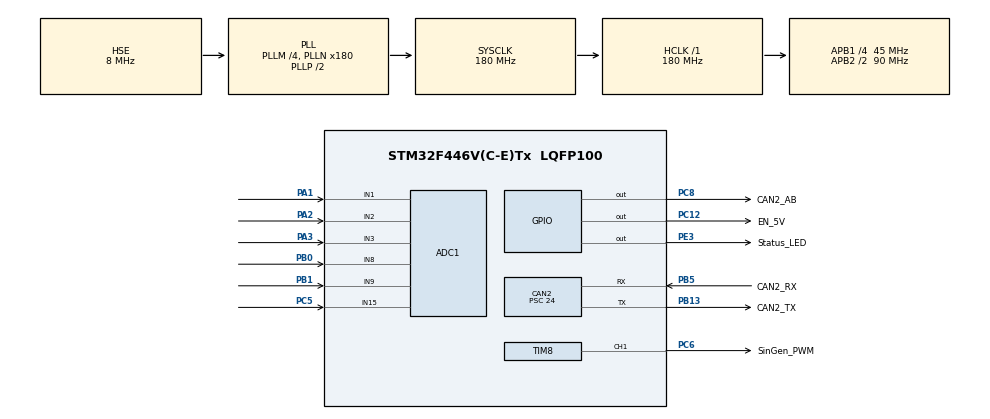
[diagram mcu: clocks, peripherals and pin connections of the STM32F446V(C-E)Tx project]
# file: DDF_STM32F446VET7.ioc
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ADC1.Channel-0\#ChannelRegularConversion=ADC_CHANNEL_9
ADC1.ContinuousConvMode=ENABLE
ADC1.EOCSelection=ADC_EOC_SEQ_CONV
ADC1.Mode=ADC_TRIPLEMODE_REGSIMULT
ADC1.NbrOfConversionFlag=1
ADC1.Rank-0\#ChannelRegularConversion=1
ADC1.SamplingTime-0\#ChannelRegularConversion=ADC_SAMPLETIME_3CYCLES
ADC1.master=1
ADC2.Channel-0\#ChannelRegularConversion=ADC_CHANNEL_8
ADC2.DMAAccessMode=ADC_DMAACCESSMODE_1
ADC2.EOCSelection=ADC_EOC_SEQ_CONV
ADC2.Mode=ADC_TRIPLEMODE_REGSIMULT
ADC2.NbrOfConversionFlag=1
ADC2.Rank-0\#ChannelRegularConversion=1
ADC2.SamplingTime-0\#ChannelRegularConversion=ADC_SAMPLETIME_3CYCLES
ADC3.Channel-0\#ChannelRegularConversion=ADC_CHANNEL_1
ADC3.DMAAccessMode=ADC_DMAACCESSMODE_1
ADC3.EOCSelection=ADC_EOC_SEQ_CONV
ADC3.Mode=ADC_TRIPLEMODE_REGSIMULT
ADC3.NbrOfConversionFlag=1
ADC3.Rank-0\#ChannelRegularConversion=1
ADC3.SamplingTime-0\#ChannelRegularConversion=ADC_SAMPLETIME_3CYCLES
CAN2.AWUM=DISABLE
CAN2.BS1=CAN_BS1_12TQ
CAN2.BS2=CAN_BS2_2TQ
CAN2.CalculateBaudRate=125000
CAN2.CalculateTimeBit=8000
CAN2.CalculateTimeQuantum=533.3333333333333
CAN2.Mode=CAN_MODE_NORMAL
CAN2.NART=ENABLE
CAN2.Prescaler=24
CAN2.SJW=CAN_SJW_1TQ
CAN2.TXFP=ENABLE
Dma.ADC1.0.Direction=DMA_PERIPH_TO_MEMORY
Dma.ADC1.0.FIFOMode=DMA_FIFOMODE_DISABLE
Dma.ADC1.0.Instance=DMA2_Stream0
Dma.ADC1.0.MemDataAlignment=DMA_MDATAALIGN_HALFWORD
Dma.ADC1.0.MemInc=DMA_MINC_ENABLE
Dma.ADC1.0.Mode=DMA_NORMAL
Dma.ADC1.0.PeriphDataAlignment=DMA_PDATAALIGN_HALFWORD
Dma.ADC1.0.PeriphInc=DMA_PINC_DISABLE
Dma.ADC1.0.Priority=DMA_PRIORITY_HIGH
Dma.ADC2.1.Direction=DMA_PERIPH_TO_MEMORY
Dma.ADC2.1.FIFOMode=DMA_FIFOMODE_DISABLE
Dma.ADC2.1.Instance=DMA2_Stream2
Dma.ADC2.1.MemDataAlignment=DMA_MDATAALIGN_HALFWORD
Dma.ADC2.1.MemInc=DMA_MINC_ENABLE
Dma.ADC2.1.Mode=DMA_NORMAL
Dma.ADC2.1.PeriphDataAlignment=DMA_PDATAALIGN_HALFWORD
Dma.ADC2.1.PeriphInc=DMA_PINC_DISABLE
Dma.ADC2.1.Priority=DMA_PRIORITY_HIGH
Dma.ADC3.2.Direction=DMA_PERIPH_TO_MEMORY
Dma.ADC3.2.FIFOMode=DMA_FIFOMODE_DISABLE
Dma.ADC3.2.Instance=DMA2_Stream1
Dma.ADC3.2.MemDataAlignment=DMA_MDATAALIGN_HALFWORD
Dma.ADC3.2.MemInc=DMA_MINC_ENABLE
Dma.ADC3.2.Mode=DMA_NORMAL
Dma.ADC3.2.PeriphDataAlignment=DMA_PDATAALIGN_HALFWORD
Dma.ADC3.2.PeriphInc=DMA_PINC_DISABLE
Dma.ADC3.2.Priority=DMA_PRIORITY_HIGH
Dma.Request0=ADC1
Dma.Request1=ADC2
Dma.Request2=ADC3
Mcu.Family=STM32F4
Mcu.Name=STM32F446V(C-E)Tx
Mcu.Package=LQFP100
NVIC.CAN2_RX0_IRQn=true\:0\:0\:false\:false\:true\:true\:true\:true
NVIC.CAN2_SCE_IRQn=true\:0\:0\:false\:false\:true\:true\:true\:true
NVIC.CAN2_TX_IRQn=true\:0\:0\:false\:false\:true\:true\:true\:true
NVIC.DMA2_Stream0_IRQn=true\:0\:0\:false\:false\:true\:false\:true\:true
NVIC.DMA2_Stream1_IRQn=true\:0\:0\:false\:false\:true\:false\:true\:true
NVIC.DMA2_Stream2_IRQn=true\:0\:0\:false\:false\:true\:false\:true\:true
NVIC.PriorityGroup=NVIC_PRIORITYGROUP_4
NVIC.TIM8_UP_TIM13_IRQn=true\:1\:0\:true\:false\:true\:true\:true\:true
PA1.Signal=ADCx_IN1
PA13.Mode=JTAG_5_pins
PA13.Signal=SYS_JTMS-SWDIO
PA14.Mode=JTAG_5_pins
PA14.Signal=SYS_JTCK-SWCLK
PA15.Mode=JTAG_5_pins
PA15.Signal=SYS_JTDI
PA2.Signal=ADCx_IN2
PA3.Signal=ADCx_IN3
PB0.Signal=ADCx_IN8
PB1.Signal=ADCx_IN9
PB13.GPIO_Label=CAN2_TX
PB13.Mode=CAN_Activate
PB13.Signal=CAN2_TX
PB3.Mode=JTAG_5_pins
PB3.Signal=SYS_JTDO-SWO
PB4.Mode=JTAG_5_pins
PB4.Signal=SYS_JTRST
PB5.GPIO_Label=CAN2_RX
PB5.Mode=CAN_Activate
PB5.Signal=CAN2_RX
PC12.GPIO_Label=EN_5V
PC12.Signal=GPIO_Output
PC5.Signal=ADCx_IN15
PC6.GPIO_Label=SinGen_PWM
PC6.GPIO_Speed=GPIO_SPEED_FREQ_VERY_HIGH
PC6.Signal=S_TIM8_CH1
PC8.GPIO_Label=CAN2_AB
PC8.Signal=GPIO_Output
PE3.GPIO_Label=Status_LED
PE3.Signal=GPIO_Output
PH0-OSC_IN.Mode=HSE-External-Oscillator
PH0-OSC_IN.Signal=RCC_OSC_IN
PH1-OSC_OUT.Mode=HSE-External-Oscillator
PH1-OSC_OUT.Signal=RCC_OSC_OUT
ProjectManager.HeapSize=0x200
ProjectManager.StackSize=0x400
ProjectManager.TargetToolchain=STM32CubeIDE
RCC.AHBFreq_Value=180000000
RCC.APB1CLKDivider=RCC_HCLK_DIV4
RCC.APB1Freq_Value=45000000
RCC.APB1TimFreq_Value=90000000
RCC.APB2CLKDivider=RCC_HCLK_DIV2
RCC.APB2Freq_Value=90000000
RCC.APB2TimFreq_Value=180000000
RCC.CortexFreq_Value=180000000
RCC.HCLKFreq_Value=180000000
RCC.HSE_VALUE=8000000
RCC.PLLM=4
RCC.PLLN=180
RCC.PLLSourceVirtual=RCC_PLLSOURCE_HSE
RCC.SYSCLKFreq_VALUE=180000000
RCC.SYSCLKSource=RCC_SYSCLKSOURCE_PLLCLK
RCC.USBFreq_Value=180000000
RCC.VCOOutputFreq_Value=360000000
SH.ADCx_IN1.0=ADC1_IN1,IN1
SH.ADCx_IN1.1=ADC2_IN1,IN1
SH.ADCx_IN1.2=ADC3_IN1,IN1
SH.ADCx_IN15.0=ADC1_IN15,IN15
SH.ADCx_IN15.1=ADC2_IN15,IN15
SH.ADCx_IN2.0=ADC1_IN2,IN2
SH.ADCx_IN2.1=ADC2_IN2,IN2
SH.ADCx_IN2.2=ADC3_IN2,IN2
SH.ADCx_IN3.0=ADC1_IN3,IN3
SH.ADCx_IN3.1=ADC2_IN3,IN3
SH.ADCx_IN3.2=ADC3_IN3,IN3
SH.ADCx_IN8.0=ADC1_IN8,IN8
SH.ADCx_IN8.1=ADC2_IN8,IN8
SH.ADCx_IN9.0=ADC1_IN9,IN9
SH.ADCx_IN9.1=ADC2_IN9,IN9
SH.S_TIM8_CH1.0=TIM8_CH1,PWM Generation1 CH1
TIM8.Channel-PWM\ Generation1\ CH1=TIM_CHANNEL_1
TIM8.OCFastMode_PWM-PWM\ Generation1\ CH1=TIM_OCFAST_ENABLE
TIM8.Period=9
TIM8.Prescaler=179
TIM8.Pulse-PWM\ Generation1\ CH1=5
VP_ADC1_TempSens_Input.Mode=IN-TempSens
VP_CRC_VS_CRC.Mode=CRC_Activate
VP_TIM8_VS_ClockSourceINT.Mode=Internal
board=custom

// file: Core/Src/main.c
/* USER CODE BEGIN Header */
/**
 ******************************************************************************
 * @file           : main.c
 * @brief          : Main program body
 ******************************************************************************
 * @attention
 *
 * Copyright (c) 2023 STMicroelectronics.
 * All rights reserved.
 *
 * This software is licensed under terms that can be found in the LICENSE file
 * in the root directory of this software component.
 * If no LICENSE file comes with this software, it is provided AS-IS.
 *
 ******************************************************************************
 */

#define __MAIN_C
/* USER CODE END Header */
#include "main.h"

/* USER CODE BEGIN Includes */
#include "math.h"
#include "ADC.h"
#include "Bootloader.h"
#include "CAN.h"
#include "LockIn.h"
#include "SinGen.h"
/* USER CODE END Includes */

ADC_HandleTypeDef hadc1;
ADC_HandleTypeDef hadc2;
ADC_HandleTypeDef hadc3;
DMA_HandleTypeDef hdma_adc1;
DMA_HandleTypeDef hdma_adc2;
DMA_HandleTypeDef hdma_adc3;

CAN_HandleTypeDef hcan2;

CRC_HandleTypeDef hcrc;

TIM_HandleTypeDef htim8;

/* USER CODE BEGIN PV */
extern CAN_RxHeaderTypeDef CAN_Rx_Header;
extern CAN_TRx_Data_TypeDef CAN_Rx_Data;

/* USER CODE END PV */

void SystemClock_Config(void);
static void MX_GPIO_Init(void);
static void MX_DMA_Init(void);
static void MX_ADC1_Init(void);
static void MX_TIM8_Init(void);
static void MX_CAN2_Init(void);
static void MX_ADC2_Init(void);
static void MX_ADC3_Init(void);
static void MX_CRC_Init(void);
/* USER CODE BEGIN PFP */
void HAL_ADC_ConvCpltCallback(ADC_HandleTypeDef *hadc);
void HAL_CAN_RxFifo0MsgPendingCallback(CAN_HandleTypeDef *hcan);
AppError_t SystemCheck(void);

void InitGlobalVar(void);
void nextstate(state_t_TypeDef nstate_t);
/* USER CODE END PFP */

int main(void)
{
  /* USER CODE BEGIN 1 */
	//JumpToBootloader();
  /* USER CODE END 1 */

  /* MCU Configuration--------------------------------------------------------*/

  /* Reset of all peripherals, Initializes the Flash interface and the Systick. */
  HAL_Init();

  /* Configure the system clock */
  SystemClock_Config();

  /* Initialize all configured peripherals */
  MX_GPIO_Init();
  MX_DMA_Init();
  MX_ADC1_Init();
  MX_TIM8_Init();
  MX_CAN2_Init();
  MX_ADC2_Init();
  MX_ADC3_Init();
  MX_CRC_Init();
  /* USER CODE BEGIN 2 */

	//Initialisieren aller Parameter
	InitGlobalVar();

	HAL_GPIO_WritePin(EN_5V_GPIO_Port, EN_5V_Pin, GPIO_PIN_SET);
	HAL_GPIO_WritePin(Status_LED_GPIO_Port, Status_LED_Pin, GPIO_PIN_SET);

	HAL_TIM_Base_Start(&htim8);
	HAL_TIM_PWM_Start(&htim8, TIM_CHANNEL_1);
	__HAL_TIM_ENABLE_IT(&htim8, TIM_IT_UPDATE);

	//CAN2_TRX_Set_Power(CAN_TRX_SET_POWER_ON);		//Deaktiviert
	CAN2_TRX_Set_Loopback(CAN_TRX_SET_LOOPBACK_OFF);
	CAN_Set_Mode(&hcan2, CAN_SET_ENABLE);
	__enable_irq();

	//  SystemCheck();

  /* USER CODE END 2 */

  /* Infinite loop */
	while (1) {

    /* USER CODE BEGIN 3 */

		switch (state_t_cur) {
		case stateIdle:
			//nextstate(stateIdle);
			break;

		case stateSendLockIn:
			//HAL_GPIO_TogglePin(Status_LED_GPIO_Port, Status_LED_Pin);
			ADC_C_Results.Elec[0] = E1;
			ADC_C_Results.Elec[1] = E2;
			ADC_C_Results.Elec[2] = E3;
			for (uint8_t i = 0; i < 3; i++) {
				ADC_Sample_Elec_poll();
				if (i == 2) {
					SinGen_RefreshTimer(0);
				} else {
					SinGen_RefreshTimer(i + 1);
				}
				LockIn_Calc(i);	//Refresh vor dem Berechnen, damit Tiefpässe vorm erneuten Samplen auf neue Frequenz eingeschwungen sind
				CAN_Send_LockInData(&hcan2, i);
				//ADC_Sort_Channels();
			}
			nextstate(stateIdle);
			break;

		case stateSendAdditionalData:
			for (uint8_t i = 0; i < 3; i++) {	//Toggle alle 3 Frequenzen durch
				ADC_C_Results.Elec[0] = E1;
				ADC_C_Results.Elec[1] = E2;
				ADC_C_Results.Elec[2] = E3;
				ADC_Sample_Elec_poll();
				LockIn_Calc(i);
				CAN_Send_LockInData(&hcan2, i);
				if(TIS_Sensor.SendRawData){
					while (ADC_C_Results.readIndex.Channel < 3
							&& ADC_C_Results.readIndex.Pos < ADC_C_Results.Length) {
						CAN_Send_ADC_RawData(&hcan2, i);
					}
				}

				ADC_C_Results.Elec[0] = V_SINGEN;
				ADC_C_Results.Elec[1] = EREF;
				ADC_C_Results.Elec[2] = E3;
				ADC_Sample_Elec_poll();
				if (i == 2) {
					SinGen_RefreshTimer(0);
				} else {
					SinGen_RefreshTimer(i + 1);
				}
				LockIn_Calc(i);	//Timer Refresh vor dem Berechnen, damit Tiefpässe vorm erneuten Samplen auf neue Frequenz eingeschwungen sind
				CAN_Send_LockInData(&hcan2, i);
				//Sende Rohwerte
				if(TIS_Sensor.SendRawData){
					while (ADC_C_Results.readIndex.Channel < 3
							&& ADC_C_Results.readIndex.Pos < ADC_C_Results.Length) {
						CAN_Send_ADC_RawData(&hcan2, i);
					}
				}
				//ADC_Sort_Channels();
			}
			ADC_ReadTemp(&ADC_uC_Temp_Results);
			ADC_Vbat(&VBat);
			CAN_SendTemp_Vbat(&hcan2, &ADC_uC_Temp_Results, &VBat);
			CAN_SendFreq(&hcan2);
			nextstate(stateIdle);
			break;

		case stateSendError:
			CAN_SendError(&hcan2, LastError);
			nextstate(stateIdle);
			break;
		case stateSetCanFreq:
			CAN_Set_Freq_Preset(&hcan2, TIS_Sensor.CAN_Freq_Preset);
			nextstate(stateIdle);
			break;
		default:
			nextstate(stateIdle);
			break;
		}

		//HAL_Delay(5);
		state_t_cur = state_t_next;
	}
  /* USER CODE END 3 */
}

void SystemClock_Config(void)
{
  RCC_OscInitTypeDef RCC_OscInitStruct = {0};
  RCC_ClkInitTypeDef RCC_ClkInitStruct = {0};

  /** Configure the main internal regulator output voltage
  */
  __HAL_RCC_PWR_CLK_ENABLE();
  __HAL_PWR_VOLTAGESCALING_CONFIG(PWR_REGULATOR_VOLTAGE_SCALE1);

  /** Initializes the RCC Oscillators according to the specified parameters
  * in the RCC_OscInitTypeDef structure.
  */
  RCC_OscInitStruct.OscillatorType = RCC_OSCILLATORTYPE_HSE;
  RCC_OscInitStruct.HSEState = RCC_HSE_ON;
  RCC_OscInitStruct.PLL.PLLState = RCC_PLL_ON;
  RCC_OscInitStruct.PLL.PLLSource = RCC_PLLSOURCE_HSE;
  RCC_OscInitStruct.PLL.PLLM = 4;
  RCC_OscInitStruct.PLL.PLLN = 180;
  RCC_OscInitStruct.PLL.PLLP = RCC_PLLP_DIV2;
  RCC_OscInitStruct.PLL.PLLQ = 2;
  RCC_OscInitStruct.PLL.PLLR = 2;
  if (HAL_RCC_OscConfig(&RCC_OscInitStruct) != HAL_OK)
  {
    Error_Handler();
  }

  /** Activate the Over-Drive mode
  */
  if (HAL_PWREx_EnableOverDrive() != HAL_OK)
  {
    Error_Handler();
  }

  /** Initializes the CPU, AHB and APB buses clocks
  */
  RCC_ClkInitStruct.ClockType = RCC_CLOCKTYPE_HCLK|RCC_CLOCKTYPE_SYSCLK
                              |RCC_CLOCKTYPE_PCLK1|RCC_CLOCKTYPE_PCLK2;
  RCC_ClkInitStruct.SYSCLKSource = RCC_SYSCLKSOURCE_PLLCLK;
  RCC_ClkInitStruct.AHBCLKDivider = RCC_SYSCLK_DIV1;
  RCC_ClkInitStruct.APB1CLKDivider = RCC_HCLK_DIV4;
  RCC_ClkInitStruct.APB2CLKDivider = RCC_HCLK_DIV2;

  if (HAL_RCC_ClockConfig(&RCC_ClkInitStruct, FLASH_LATENCY_5) != HAL_OK)
  {
    Error_Handler();
  }
}

static void MX_ADC1_Init(void)
{

  ADC_MultiModeTypeDef multimode = {0};
  ADC_ChannelConfTypeDef sConfig = {0};

  /** Configure the global features of the ADC (Clock, Resolution, Data Alignment and number of conversion)
  */
  hadc1.Instance = ADC1;
  hadc1.Init.ClockPrescaler = ADC_CLOCK_SYNC_PCLK_DIV4;
  hadc1.Init.Resolution = ADC_RESOLUTION_12B;
  hadc1.Init.ScanConvMode = DISABLE;
  hadc1.Init.ContinuousConvMode = ENABLE;
  hadc1.Init.DiscontinuousConvMode = DISABLE;
  hadc1.Init.ExternalTrigConvEdge = ADC_EXTERNALTRIGCONVEDGE_NONE;
  hadc1.Init.ExternalTrigConv = ADC_SOFTWARE_START;
  hadc1.Init.DataAlign = ADC_DATAALIGN_RIGHT;
  hadc1.Init.NbrOfConversion = 1;
  hadc1.Init.DMAContinuousRequests = DISABLE;
  hadc1.Init.EOCSelection = ADC_EOC_SEQ_CONV;
  if (HAL_ADC_Init(&hadc1) != HAL_OK)
  {
    Error_Handler();
  }

  /** Configure the ADC multi-mode
  */
  multimode.Mode = ADC_TRIPLEMODE_REGSIMULT;
  multimode.DMAAccessMode = ADC_DMAACCESSMODE_1;
  multimode.TwoSamplingDelay = ADC_TWOSAMPLINGDELAY_5CYCLES;
  if (HAL_ADCEx_MultiModeConfigChannel(&hadc1, &multimode) != HAL_OK)
  {
    Error_Handler();
  }

  /** Configure for the selected ADC regular channel its corresponding rank in the sequencer and its sample time.
  */
  sConfig.Channel = ADC_CHANNEL_9;
  sConfig.Rank = 1;
  sConfig.SamplingTime = ADC_SAMPLETIME_3CYCLES;
  if (HAL_ADC_ConfigChannel(&hadc1, &sConfig) != HAL_OK)
  {
    Error_Handler();
  }

}

static void MX_ADC2_Init(void)
{

  ADC_ChannelConfTypeDef sConfig = {0};

  /** Configure the global features of the ADC (Clock, Resolution, Data Alignment and number of conversion)
  */
  hadc2.Instance = ADC2;
  hadc2.Init.ClockPrescaler = ADC_CLOCK_SYNC_PCLK_DIV4;
  hadc2.Init.Resolution = ADC_RESOLUTION_12B;
  hadc2.Init.ScanConvMode = DISABLE;
  hadc2.Init.ContinuousConvMode = ENABLE;
  hadc2.Init.DiscontinuousConvMode = DISABLE;
  hadc2.Init.DataAlign = ADC_DATAALIGN_RIGHT;
  hadc2.Init.NbrOfConversion = 1;
  hadc2.Init.DMAContinuousRequests = DISABLE;
  hadc2.Init.EOCSelection = ADC_EOC_SEQ_CONV;
  if (HAL_ADC_Init(&hadc2) != HAL_OK)
  {
    Error_Handler();
  }

  /** Configure for the selected ADC regular channel its corresponding rank in the sequencer and its sample time.
  */
  sConfig.Channel = ADC_CHANNEL_8;
  sConfig.Rank = 1;
  sConfig.SamplingTime = ADC_SAMPLETIME_3CYCLES;
  if (HAL_ADC_ConfigChannel(&hadc2, &sConfig) != HAL_OK)
  {
    Error_Handler();
  }

}

static void MX_ADC3_Init(void)
{

  ADC_ChannelConfTypeDef sConfig = {0};

  /** Configure the global features of the ADC (Clock, Resolution, Data Alignment and number of conversion)
  */
  hadc3.Instance = ADC3;
  hadc3.Init.ClockPrescaler = ADC_CLOCK_SYNC_PCLK_DIV4;
  hadc3.Init.Resolution = ADC_RESOLUTION_12B;
  hadc3.Init.ScanConvMode = DISABLE;
  hadc3.Init.ContinuousConvMode = ENABLE;
  hadc3.Init.DiscontinuousConvMode = DISABLE;
  hadc3.Init.DataAlign = ADC_DATAALIGN_RIGHT;
  hadc3.Init.NbrOfConversion = 1;
  hadc3.Init.DMAContinuousRequests = DISABLE;
  hadc3.Init.EOCSelection = ADC_EOC_SEQ_CONV;
  if (HAL_ADC_Init(&hadc3) != HAL_OK)
  {
    Error_Handler();
  }

  /** Configure for the selected ADC regular channel its corresponding rank in the sequencer and its sample time.
  */
  sConfig.Channel = ADC_CHANNEL_1;
  sConfig.Rank = 1;
  sConfig.SamplingTime = ADC_SAMPLETIME_3CYCLES;
  if (HAL_ADC_ConfigChannel(&hadc3, &sConfig) != HAL_OK)
  {
    Error_Handler();
  }

}

static void MX_CAN2_Init(void)
{

  /* USER CODE BEGIN CAN2_Init 0 */
	CAN_Init_Tx_Header();
  /* USER CODE END CAN2_Init 0 */

  /* USER CODE BEGIN CAN2_Init 1 */
	//Bittimings: http://www.bittiming.can-wiki.info/
  /* USER CODE END CAN2_Init 1 */
  hcan2.Instance = CAN2;
  hcan2.Init.Prescaler = 24;
  hcan2.Init.Mode = CAN_MODE_NORMAL;
  hcan2.Init.SyncJumpWidth = CAN_SJW_1TQ;
  hcan2.Init.TimeSeg1 = CAN_BS1_12TQ;
  hcan2.Init.TimeSeg2 = CAN_BS2_2TQ;
  hcan2.Init.TimeTriggeredMode = DISABLE;
  hcan2.Init.AutoBusOff = DISABLE;
  hcan2.Init.AutoWakeUp = DISABLE;
  hcan2.Init.AutoRetransmission = ENABLE;
  hcan2.Init.ReceiveFifoLocked = DISABLE;
  hcan2.Init.TransmitFifoPriority = ENABLE;
  if (HAL_CAN_Init(&hcan2) != HAL_OK)
  {
    Error_Handler();
  }
  /* USER CODE BEGIN CAN2_Init 2 */
	//Filtersetup für allgemein eingehende Nachrichten auf CAN_BASE_ADR
	CAN_FilterTypeDef CAN_FILTER_CONFIG;
	CAN_FILTER_CONFIG.FilterActivation = CAN_FILTER_ENABLE;
	CAN_FILTER_CONFIG.SlaveStartFilterBank = 1;	//insgesamt 28 Filter, geteilt zwischen CAN1 (Master) CAN2(Slave) aktuell Can1: 0 Can2: 1-27
	CAN_FILTER_CONFIG.FilterBank = 1;		//Alles ab SlaveStartFilterBank
	CAN_FILTER_CONFIG.FilterFIFOAssignment = CAN_RX_FIFO0;
	CAN_FILTER_CONFIG.FilterIdHigh = CAN_BASE_ADR << 5;	//Shift um 5, da EXID die ersten 5 Bits belegt. [RM0390 Rev 6 S.1057]
	CAN_FILTER_CONFIG.FilterIdLow = 0x0000;
	CAN_FILTER_CONFIG.FilterMaskIdHigh = 0x7FF << 5;
	CAN_FILTER_CONFIG.FilterMaskIdLow = 0x0000;
	CAN_FILTER_CONFIG.FilterMode = CAN_FILTERMODE_IDMASK;
	CAN_FILTER_CONFIG.FilterScale = CAN_FILTERSCALE_32BIT;
	if (HAL_CAN_ConfigFilter(&hcan2, &CAN_FILTER_CONFIG) != HAL_OK) {
		Error_Handler();
	}

	//Filtersetup für eingehende Nachrichten auf
	CAN_FILTER_CONFIG.FilterActivation = CAN_FILTER_ENABLE;
	CAN_FILTER_CONFIG.SlaveStartFilterBank = 1;	//insgesamt 28 Filter, geteilt zwischen CAN1 (Master) CAN2(Slave) aktuell Can1: 0 Can2: 1-27
	CAN_FILTER_CONFIG.FilterBank = 2;		//Alles ab SlaveStartFilterBank
	CAN_FILTER_CONFIG.FilterFIFOAssignment = CAN_RX_FIFO0;
	CAN_FILTER_CONFIG.FilterIdHigh = CAN_SENSOR_ADR << 5;//Shift um 5, da EXID die ersten 5 Bits belegt. [RM0390 Rev 6 S.1057]
	CAN_FILTER_CONFIG.FilterIdLow = 0x0000;
	CAN_FILTER_CONFIG.FilterMaskIdHigh = 0x7FF << 5;
	CAN_FILTER_CONFIG.FilterMaskIdLow = 0x0000;
	CAN_FILTER_CONFIG.FilterMode = CAN_FILTERMODE_IDMASK;
	CAN_FILTER_CONFIG.FilterScale = CAN_FILTERSCALE_32BIT;
	if (HAL_CAN_ConfigFilter(&hcan2, &CAN_FILTER_CONFIG) != HAL_OK) {
		Error_Handler();
	}

	//	//Filtersetup für eingehende Nachrichten auf
	//	CAN_FILTER_CONFIG.FilterActivation = CAN_FILTER_ENABLE;
	//	CAN_FILTER_CONFIG.SlaveStartFilterBank = 1;	//insgesamt 28 Filter, geteilt zwischen CAN1 (Master) CAN2(Slave) aktuell Can1: 0 Can2: 1-27
	//	CAN_FILTER_CONFIG.FilterBank = 3;		//Alles ab SlaveStartFilterBank
	//	CAN_FILTER_CONFIG.FilterFIFOAssignment = CAN_RX_FIFO0;
	//	CAN_FILTER_CONFIG.FilterIdHigh = CAN_BOOTLOADER_ID << 5;//Shift um 5, da EXID die ersten 5 Bits belegt. [RM0390 Rev 6 S.1057]
	//	CAN_FILTER_CONFIG.FilterIdLow = 0x0000;
	//	CAN_FILTER_CONFIG.FilterMaskIdHigh = 0x7FF << 5;
	//	CAN_FILTER_CONFIG.FilterMaskIdLow = 0x0000;
	//	CAN_FILTER_CONFIG.FilterMode = CAN_FILTERMODE_IDMASK;
	//	CAN_FILTER_CONFIG.FilterScale = CAN_FILTERSCALE_32BIT;
	//	if (HAL_CAN_ConfigFilter(&hcan2, &CAN_FILTER_CONFIG) != HAL_OK) {
	//		Error_Handler();
	//	}
  /* USER CODE END CAN2_Init 2 */

}

static void MX_CRC_Init(void)
{

  hcrc.Instance = CRC;
  if (HAL_CRC_Init(&hcrc) != HAL_OK)
  {
    Error_Handler();
  }

}

static void MX_TIM8_Init(void)
{

  TIM_ClockConfigTypeDef sClockSourceConfig = {0};
  TIM_MasterConfigTypeDef sMasterConfig = {0};
  TIM_OC_InitTypeDef sConfigOC = {0};
  TIM_BreakDeadTimeConfigTypeDef sBreakDeadTimeConfig = {0};

  htim8.Instance = TIM8;
  htim8.Init.Prescaler = 179;
  htim8.Init.CounterMode = TIM_COUNTERMODE_UP;
  htim8.Init.Period = 9;
  htim8.Init.ClockDivision = TIM_CLOCKDIVISION_DIV1;
  htim8.Init.RepetitionCounter = 0;
  htim8.Init.AutoReloadPreload = TIM_AUTORELOAD_PRELOAD_DISABLE;
  if (HAL_TIM_Base_Init(&htim8) != HAL_OK)
  {
    Error_Handler();
  }
  sClockSourceConfig.ClockSource = TIM_CLOCKSOURCE_INTERNAL;
  if (HAL_TIM_ConfigClockSource(&htim8, &sClockSourceConfig) != HAL_OK)
  {
    Error_Handler();
  }
  if (HAL_TIM_PWM_Init(&htim8) != HAL_OK)
  {
    Error_Handler();
  }
  sMasterConfig.MasterOutputTrigger = TIM_TRGO_RESET;
  sMasterConfig.MasterSlaveMode = TIM_MASTERSLAVEMODE_DISABLE;
  if (HAL_TIMEx_MasterConfigSynchronization(&htim8, &sMasterConfig) != HAL_OK)
  {
    Error_Handler();
  }
  sConfigOC.OCMode = TIM_OCMODE_PWM1;
  sConfigOC.Pulse = 5;
  sConfigOC.OCPolarity = TIM_OCPOLARITY_HIGH;
  sConfigOC.OCNPolarity = TIM_OCNPOLARITY_HIGH;
  sConfigOC.OCFastMode = TIM_OCFAST_ENABLE;
  sConfigOC.OCIdleState = TIM_OCIDLESTATE_RESET;
  sConfigOC.OCNIdleState = TIM_OCNIDLESTATE_RESET;
  if (HAL_TIM_PWM_ConfigChannel(&htim8, &sConfigOC, TIM_CHANNEL_1) != HAL_OK)
  {
    Error_Handler();
  }
  sBreakDeadTimeConfig.OffStateRunMode = TIM_OSSR_DISABLE;
  sBreakDeadTimeConfig.OffStateIDLEMode = TIM_OSSI_DISABLE;
  sBreakDeadTimeConfig.LockLevel = TIM_LOCKLEVEL_OFF;
  sBreakDeadTimeConfig.DeadTime = 0;
  sBreakDeadTimeConfig.BreakState = TIM_BREAK_DISABLE;
  sBreakDeadTimeConfig.BreakPolarity = TIM_BREAKPOLARITY_HIGH;
  sBreakDeadTimeConfig.AutomaticOutput = TIM_AUTOMATICOUTPUT_DISABLE;
  if (HAL_TIMEx_ConfigBreakDeadTime(&htim8, &sBreakDeadTimeConfig) != HAL_OK)
  {
    Error_Handler();
  }
  HAL_TIM_MspPostInit(&htim8);

}

static void MX_DMA_Init(void)
{

  /* DMA controller clock enable */
  __HAL_RCC_DMA2_CLK_ENABLE();

  /* DMA interrupt init */
  /* DMA2_Stream0_IRQn interrupt configuration */
  HAL_NVIC_SetPriority(DMA2_Stream0_IRQn, 0, 0);
  HAL_NVIC_EnableIRQ(DMA2_Stream0_IRQn);
  /* DMA2_Stream1_IRQn interrupt configuration */
  HAL_NVIC_SetPriority(DMA2_Stream1_IRQn, 0, 0);
  HAL_NVIC_EnableIRQ(DMA2_Stream1_IRQn);
  /* DMA2_Stream2_IRQn interrupt configuration */
  HAL_NVIC_SetPriority(DMA2_Stream2_IRQn, 0, 0);
  HAL_NVIC_EnableIRQ(DMA2_Stream2_IRQn);

}

static void MX_GPIO_Init(void)
{
  GPIO_InitTypeDef GPIO_InitStruct = {0};

  /* GPIO Ports Clock Enable */
  __HAL_RCC_GPIOE_CLK_ENABLE();
  __HAL_RCC_GPIOH_CLK_ENABLE();
  __HAL_RCC_GPIOA_CLK_ENABLE();
  __HAL_RCC_GPIOC_CLK_ENABLE();
  __HAL_RCC_GPIOB_CLK_ENABLE();

  /*Configure GPIO pin Output Level */
  HAL_GPIO_WritePin(Status_LED_GPIO_Port, Status_LED_Pin, GPIO_PIN_RESET);

  /*Configure GPIO pin Output Level */
  HAL_GPIO_WritePin(GPIOC, CAN2_AB_Pin|EN_5V_Pin, GPIO_PIN_RESET);

  /*Configure GPIO pin : Status_LED_Pin */
  GPIO_InitStruct.Pin = Status_LED_Pin;
  GPIO_InitStruct.Mode = GPIO_MODE_OUTPUT_PP;
  GPIO_InitStruct.Pull = GPIO_NOPULL;
  GPIO_InitStruct.Speed = GPIO_SPEED_FREQ_LOW;
  HAL_GPIO_Init(Status_LED_GPIO_Port, &GPIO_InitStruct);

  /*Configure GPIO pins : CAN2_AB_Pin EN_5V_Pin */
  GPIO_InitStruct.Pin = CAN2_AB_Pin|EN_5V_Pin;
  GPIO_InitStruct.Mode = GPIO_MODE_OUTPUT_PP;
  GPIO_InitStruct.Pull = GPIO_NOPULL;
  GPIO_InitStruct.Speed = GPIO_SPEED_FREQ_LOW;
  HAL_GPIO_Init(GPIOC, &GPIO_InitStruct);

}

/* USER CODE BEGIN 4 */

/**
 * @brief  Regular conversion complete callback in non blocking mode
 * @param  hadc pointer to a ADC_HandleTypeDef structure that contains
 *         the configuration information for the specified ADC.
 * @retval None
 */
void HAL_ADC_ConvCpltCallback(ADC_HandleTypeDef *hadc) {
	ADC_C_Results.ConCplet = 0;
	//HAL_ADCEx_MultiModeStop_DMA(&hadc1);

}

/**
 * @brief  Period elapsed callback in non-blocking mode
 * @param  htim TIM handle
 * @retval None
 */
void HAL_TIM_PeriodElapsedCallback(TIM_HandleTypeDef *htim) {
	ADC_C_Results.TimerSync = 0;
}

AppError_t SystemCheck(void) {
	// Spannungen Überprüfen, insbesondere Vref, und 5 V
	return APP_ERROR_OK;
}

void HAL_CAN_RxFifo0MsgPendingCallback(CAN_HandleTypeDef *hcan) {
	HAL_CAN_GetRxMessage(hcan, CAN_RX_FIFO0, &CAN_Rx_Header, CAN_Rx_Data.u8);
	LastError = CAN_ReadCMD();
}

void nextstate(state_t_TypeDef nstate_t) {
	if (state_t_cur == state_t_next) {//Dann wurde dieser nicht vom Host geändert.
		state_t_next = nstate_t;
	}
}

void InitGlobalVar(void) {

	//überprüfe, ob der Flashspeicher gesetzt wurde
	uint8_t Flash_Unwritten = 1;
	for (uint32_t i = 0; i < sizeof(Flash_Data_TypeDef); i++) {
		if (*((uint8_t*) Userdata + i) != 0xFF) {
			Flash_Unwritten = 0;
			break;
		}
	}

	//Falls erster Start nach Reset: Beschreibe Flash
	if (Flash_Unwritten) {
		LockIn[0].PWM_freq_soll = PWM_FREQ_BASE0;
		LockIn[1].PWM_freq_soll = PWM_FREQ_BASE1;
		LockIn[2].PWM_freq_soll = PWM_FREQ_BASE2;
		TIS_Sensor.Timing_LockInData = TIME_SEND_LOCK_IN_DATA;
		TIS_Sensor.Timing_AdditionalData = TIME_SEND_ADDITIONAL_DATA;
		TIS_Sensor.SendRawData = 1;
		TIS_Sensor.CAN_Freq_Preset = CAN_FREQ_PRESET;
		ADC_C_Results.Length = ADC_C_DATA_DMA_LENGTH;
		FlashWrite();
	}

	ADC_Temp_Calc_Slope_Offset(&ADC_uC_Temp_Results);

	ADC_C_Results.Elec[0] = E1;
	ADC_C_Results.Elec[1] = E2;
	ADC_C_Results.Elec[2] = E3;

	LockIn_Set_Freq(0, Userdata->PWM_freq_soll[0]);
	LockIn_Set_Freq(1, Userdata->PWM_freq_soll[1]);
	LockIn_Set_Freq(2, Userdata->PWM_freq_soll[2]);

	CAN_Set_Freq_Preset(&hcan2, Userdata->CAN_Freq_Preset);

	ADC_C_Results.Length = Userdata->ADC_Length;
	TIS_Sensor.Timing_LockInData = Userdata->Timing_LockInData;
	TIS_Sensor.Timing_AdditionalData = Userdata->Timing_AdditionalData;
	TIS_Sensor.SendRawData = Userdata->SendRawData;
	state_t_next = stateIdle;
}

void FlashWrite(void) {
	FLASH_EraseInitTypeDef Erase;
	Erase.TypeErase = FLASH_TYPEERASE_SECTORS;
	//Erase.Banks = FLASH_BANK_1;
	Erase.Sector = FLASH_SECTOR_7;
	Erase.NbSectors = 1;
	Erase.VoltageRange = FLASH_VOLTAGE_RANGE_3;

	HAL_FLASH_Unlock();
	uint32_t ERrrror = 0;
	HAL_FLASHEx_Erase(&Erase, &ERrrror);

	union {
		float fVal;
		uint32_t uVal;
	} Freq;

	for (uint8_t i = 0; i < 3; i++) {
		Freq.fVal = LockIn[i].PWM_freq_soll;
		HAL_FLASH_Program(TYPEPROGRAM_WORD, (uint32_t) &Userdata->PWM_freq_soll[i], (uint32_t) Freq.uVal);
	}
	HAL_FLASH_Program(TYPEPROGRAM_WORD, (uint32_t) &Userdata->CAN_Freq_Preset, (uint32_t) TIS_Sensor.CAN_Freq_Preset);
	HAL_FLASH_Program(TYPEPROGRAM_WORD, (uint32_t) &Userdata->ADC_Length, (uint32_t) ADC_C_Results.Length);
	HAL_FLASH_Program(TYPEPROGRAM_WORD, (uint32_t) &Userdata->Timing_AdditionalData, (uint32_t) TIS_Sensor.Timing_AdditionalData);
	HAL_FLASH_Program(TYPEPROGRAM_WORD, (uint32_t) &Userdata->Timing_LockInData, (uint32_t) TIS_Sensor.Timing_LockInData);
	HAL_FLASH_Program(TYPEPROGRAM_WORD, (uint32_t) &Userdata->SendRawData, (uint32_t) TIS_Sensor.SendRawData);
}

/* USER CODE END 4 */

void Error_Handler(void)
{
  /* USER CODE BEGIN Error_Handler_Debug */
	/* User can add his own implementation to report the HAL error return state */
	__disable_irq();
	HAL_GPIO_WritePin(Status_LED_GPIO_Port, Status_LED_Pin, GPIO_PIN_RESET);
	HAL_NVIC_SystemReset();
	while (1) {
	}
  /* USER CODE END Error_Handler_Debug */
}
